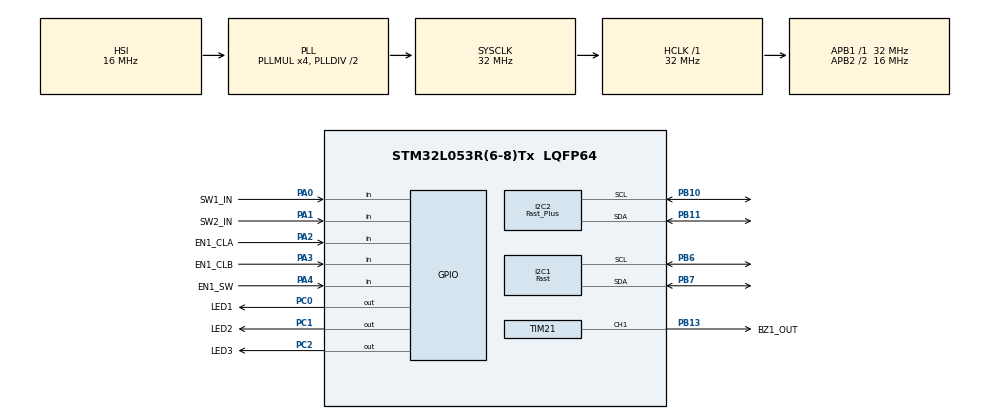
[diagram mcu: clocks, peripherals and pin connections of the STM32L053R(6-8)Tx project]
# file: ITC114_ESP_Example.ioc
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I2C1.I2C_Fall_Time=0
I2C1.I2C_Rise_Time=0
I2C1.I2C_Speed_Mode=I2C_Fast
I2C1.Timing=0x00300F38
I2C2.I2C_Speed_Mode=I2C_Fast_Plus
I2C2.Timing=0x0040040C
Mcu.Family=STM32L0
Mcu.Name=STM32L053R(6-8)Tx
Mcu.Package=LQFP64
NVIC.TIM6_DAC_IRQn=true\:0\:0\:false\:false\:true\:true\:true\:true
PA0.GPIO_Label=SW1_IN
PA0.GPIO_PuPd=GPIO_NOPULL
PA0.Signal=GPIO_Input
PA1.GPIO_Label=SW2_IN
PA1.GPIO_PuPd=GPIO_NOPULL
PA1.Signal=GPIO_Input
PA2.GPIO_Label=EN1_CLA
PA2.GPIO_Mode=GPIO_MODE_INPUT
PA2.GPIO_PuPd=GPIO_NOPULL
PA2.Signal=GPIO_Input
PA3.GPIO_Label=EN1_CLB
PA3.GPIO_Mode=GPIO_MODE_INPUT
PA3.GPIO_PuPd=GPIO_NOPULL
PA3.Signal=GPIO_Input
PA4.GPIO_Label=EN1_SW
PA4.GPIO_Mode=GPIO_MODE_INPUT
PA4.GPIO_PuPd=GPIO_NOPULL
PA4.Signal=GPIO_Input
PB10.Mode=I2C
PB10.Signal=I2C2_SCL
PB11.Mode=I2C
PB11.Signal=I2C2_SDA
PB13.GPIO_Label=BZ1_OUT
PB13.Signal=S_TIM21_CH1
PB6.GPIO_Pu=GPIO_PULLUP
PB6.Mode=I2C
PB6.Signal=I2C1_SCL
PB7.GPIO_Pu=GPIO_PULLUP
PB7.Mode=I2C
PB7.Signal=I2C1_SDA
PC0.GPIO_Label=LED1
PC0.PinState=GPIO_PIN_SET
PC0.Signal=GPIO_Output
PC1.GPIO_Label=LED2
PC1.PinState=GPIO_PIN_SET
PC1.Signal=GPIO_Output
PC14-OSC32_IN.Mode=LSE-External-Oscillator
PC14-OSC32_IN.Signal=RCC_OSC32_IN
PC15-OSC32_OUT.Mode=LSE-External-Oscillator
PC15-OSC32_OUT.Signal=RCC_OSC32_OUT
PC2.GPIO_Label=LED3
PC2.PinState=GPIO_PIN_SET
PC2.Signal=GPIO_Output
ProjectManager.HeapSize=0x200
ProjectManager.StackSize=0x400
ProjectManager.TargetToolchain=STM32CubeIDE
RCC.AHBFreq_Value=32000000
RCC.APB1Freq_Value=32000000
RCC.APB1TimFreq_Value=32000000
RCC.APB2CLKDivider=RCC_HCLK_DIV2
RCC.APB2Freq_Value=16000000
RCC.APB2TimFreq_Value=32000000
RCC.HCLKFreq_Value=32000000
RCC.HSE_VALUE=8000000
RCC.HSI16_VALUE=16000000
RCC.HSI48MClockSelection=RCC_USBCLKSOURCE_HSI48
RCC.HSI48_VALUE=48000000
RCC.HSI_VALUE=16000000
RCC.MSI_VALUE=2097000
RCC.PLLMUL=RCC_PLLMUL_4
RCC.RTCClockSelection=RCC_RTCCLKSOURCE_LSE
RCC.RTCClockSelectionVirtual=RCC_RTCCLKSOURCE_LSE
RCC.SYSCLKFreq_VALUE=32000000
RCC.SYSCLKSource=RCC_SYSCLKSOURCE_PLLCLK
RCC.VCOOutputFreq_Value=64000000
SH.S_TIM21_CH1.0=TIM21_CH1,PWM Generation1 CH1
TIM21.Channel-PWM\ Generation1\ CH1=TIM_CHANNEL_1
TIM21.Period=99
TIM21.Prescaler=319
TIM6.Period=99
TIM6.Prescaler=319
VP_RTC_VS_RTC_Activate.Mode=RTC_Enabled
VP_TIM21_VS_ClockSourceINT.Mode=Internal
VP_TIM6_VS_ClockSourceINT.Mode=Enable_Timer
board=custom

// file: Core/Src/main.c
/* USER CODE BEGIN Header */
/**
 ******************************************************************************
 * @file           : main.c
 * @brief          : Main program body
 ******************************************************************************
 * @attention
 *
 * Copyright (c) 2025 STMicroelectronics.
 * All rights reserved.
 *
 * This software is licensed under terms that can be found in the LICENSE file
 * in the root directory of this software component.
 * If no LICENSE file comes with this software, it is provided AS-IS.
 *
 ******************************************************************************
 */
/* USER CODE END Header */
#include "main.h"
#include "i2c.h"
#include "rtc.h"
#include "tim.h"
#include "gpio.h"

/* USER CODE BEGIN Includes */
#include "ssd1306.h"
#include "fonts.h"
#include "tmp1075.h"
#include "tps55289.h"
#include "ina226.h"
#include <stdio.h>
/* USER CODE END Includes */

/* USER CODE BEGIN PD */
#define SW1_Read HAL_GPIO_ReadPin(SW1_IN_GPIO_Port, SW1_IN_Pin)
#define SW2_Read HAL_GPIO_ReadPin(SW2_IN_GPIO_Port, SW2_IN_Pin)
#define EN1_SW_Read HAL_GPIO_ReadPin(EN1_SW_GPIO_Port, EN1_SW_Pin)

#define EN1_CLA HAL_GPIO_ReadPin(EN1_CLA_GPIO_Port, EN1_CLA_Pin)
#define EN1_CLB HAL_GPIO_ReadPin(EN1_CLB_GPIO_Port, EN1_CLB_Pin)

#define LED1(x) HAL_GPIO_WritePin(LED1_GPIO_Port, LED1_Pin, x ? 1 : 0)
#define LED2(x) HAL_GPIO_WritePin(LED2_GPIO_Port, LED2_Pin, x ? 1 : 0)
#define LED3(x) HAL_GPIO_WritePin(LED3_GPIO_Port, LED3_Pin, x ? 1 : 0)

#define EEPROM_ADDR_BASE 0x08080000
#define EEPROM_ADDR_BZ_state (EEPROM_ADDR_BASE)           // size = 4 byte
#define EEPROM_ADDR_BZ_freq (EEPROM_ADDR_BASE + 4)        // size = 4 byte
#define EEPROM_ADDR_OLED_contrast (EEPROM_ADDR_BASE + 8)  // size = 4 byte
#define EEPROM_ADDR_Vset (EEPROM_ADDR_BASE + 16)          // size = 4 byte
#define EEPROM_ADDR_Ilim (EEPROM_ADDR_BASE + 32)          // size = 4 byte

RTC_TimeTypeDef sTime;
RTC_DateTypeDef sDate;
int             mode;
char           *SW_STATE[] = {"ON", "OFF"};
int             SW1, SW2, SW3;
int             cnt, lastCLA;
int             timerSW1, task;
int             freq;
int             menu, lastEN1 = 1;
int             buzz = 1, light = 100;
int             lastSW1 = 1, lastSW2 = 1;
int             timerbuzz;
int             timer;
/* USER CODE END PD */

/* USER CODE BEGIN PV */

TMP1075_Handle_t TMP1075_U7;

TPS55289_Handle_t TPS55289_U5;
TPS55289_Status_t TPS55289_output_state;
uint8_t           output_state = 0;

uint32_t output_start_time = 0;

INA226_Handle_t INA226_U3;
INA226_Handle_t INA226_U8;

float Input_voltage = 0.0;
float Input_current = 0.0;

float Output_voltage = 0.0;
float Output_current = 0.0;

float set_output_voltage       = 22.0;
float set_output_limit_current = 3.0;

float temperature = 0.0;

char OLED_buf[22];

/* USER CODE END PV */

void SystemClock_Config(void);
/* USER CODE BEGIN PFP */
void     EEPROM_WriteUInt32(uint32_t addr, uint32_t data);
uint32_t EEPROM_ReadUInt32(uint32_t addr);
void     EEPROM_WriteFloat(uint32_t addr, float value);
float    EEPROM_ReadFloat(uint32_t addr);
void     setting_update(void);
/* USER CODE END PFP */

int main(void) {

  /* MCU Configuration--------------------------------------------------------*/

  /* Reset of all peripherals, Initializes the Flash interface and the Systick. */
  HAL_Init();

  /* Configure the system clock */
  SystemClock_Config();

  /* Initialize all configured peripherals */
  MX_GPIO_Init();
  MX_I2C1_Init();
  MX_I2C2_Init();
  MX_TIM6_Init();
  MX_TIM21_Init();
  MX_RTC_Init();
  /* USER CODE BEGIN 2 */

  /* -------------------------------- Initial the OLED --------------------------------*/
  ssd1306_Init(&hi2c2);

  /* -------------------------------- Initial the TMP1075 --------------------------------*/
  TMP1075_Init(&TMP1075_U7, &hi2c1, TMP1075_DEFAULT_ADDR);

  /* -------------------------------- Initial the Read Input INA226 U3 --------------------------------*/
  INA226_Init(&INA226_U3, &hi2c1, 0x40);
  INA226_WriteConfig(&INA226_U3, INA226_AVG_16, INA226_CT_1100US, INA226_CT_1100US, true);
  INA226_SetCalibration(&INA226_U3, 0.010f, 0.00025f);

  /* -------------------------------- Initial the Read Output INA226 U8 --------------------------------*/
  INA226_Init(&INA226_U8, &hi2c1, 0x45);
  INA226_WriteConfig(&INA226_U8, INA226_AVG_16, INA226_CT_1100US, INA226_CT_1100US, true);
  INA226_SetCalibration(&INA226_U8, 0.010f, 0.00025f);

  /* -------------------------------- Initial the TPS55289 --------------------------------*/
  TPS55289_Init(&TPS55289_U5, &hi2c1, TPS55289_ADDR_75);

  /* -------------------------------- Initial the Base Timer, Period = 1ms --------------------------------*/
  HAL_TIM_Base_Start_IT(&htim6);
  HAL_TIM_PWM_Start(&htim21, TIM_CHANNEL_1);
  /* -------------------------------- Set the TPS55289 Output  --------------------------------*/
  TPS55289_SetVout(&TPS55289_U5, 0.0f);    // Set TPS55289 Output Voltage = 0.0 V
  TPS55289_SetIlimit(&TPS55289_U5, 0.1f);  // Set TPS55289 Current Limit  = 0.1 A
  TPS55289_EnableOut(&TPS55289_U5, OFF);   // Set TPS55289 Output = OFF
  output_state = 0;

  /* -------------------------------- OLED display example --------------------------------*/
  //	  ssd1306_SetCursor(0, 0);
  //	  ssd1306_WriteString("Welcome to ITC 114", Font_7x10, White);
  //
  //	  ssd1306_SetCursor(0, 10);
  //	  ssd1306_WriteString("This font is 7x10", Font_7x10, White);
  //
  //	  ssd1306_SetCursor(0, 20);
  //	  ssd1306_WriteString("This font", Font_11x18, White);
  //
  //	  ssd1306_SetCursor(0, 38);
  //	  ssd1306_WriteString("is 11x18", Font_11x18, White);
  //
  //	  ssd1306_UpdateScreen(&hi2c2);
  sTime.Hours   = 23;
  sTime.Minutes = 59;
  sTime.Seconds = 50;
  //    HAL_RTC_GetDate(&hrtc, &sDate, RTC_FORMAT_BIN);
  //    HAL_RTC_GetTime(&hrtc, &sTime, RTC_FORMAT_BIN);
  cnt = 50;
  if (SW1_Read == 0) {
    mode = 0;
  } else mode = 1;

  buzz = (int)EEPROM_ReadUInt32(EEPROM_ADDR_BZ_state);
  freq = (int)EEPROM_ReadUInt32(EEPROM_ADDR_BZ_freq);

  light = (int)EEPROM_ReadUInt32(EEPROM_ADDR_OLED_contrast);
  ssd1306_SetBrightness(&hi2c2, light * 255 / 100);

  set_output_voltage       = EEPROM_ReadFloat(EEPROM_ADDR_Vset);
  set_output_limit_current = EEPROM_ReadFloat(EEPROM_ADDR_Ilim);

  /* USER CODE END 2 */

  /* Infinite loop */
  /* USER CODE BEGIN WHILE */
  while (1) {
    /* -------------------------------- Read TPS55289 status Register --------------------------------*/
    TPS55289_ReadStatus(&TPS55289_U5, &TPS55289_output_state);

    /* -------------------------------- Read TMP1075 temperature --------------------------------*/
    TMP1075_ReadTemperatureC(&TMP1075_U7, &temperature);  // temperature's unit = 'c

    /* -------------------------------- Read INA226 Input voltage and current --------------------------------*/
    INA226_ReadBusVoltage_V(&INA226_U3, &Input_voltage);  // Read Input Voltage, Unit = V
    INA226_ReadCurrent_A(&INA226_U3, &Input_current);     // Read Input Current, Unit = A

    INA226_ReadBusVoltage_V(&INA226_U8, &Output_voltage);
    INA226_ReadCurrent_A(&INA226_U8, &Output_current);

    HAL_Delay(1);

    if (timer == 0) {
      timer = 1000;
      sTime.Seconds++;
    }
    if (sTime.Seconds >= 60) {
      sTime.Seconds = 0;
      sTime.Minutes++;
    }
    if (sTime.Minutes >= 60) {
      sTime.Minutes = 0;
      sTime.Hours++;
    }
    if (sTime.Hours >= 24) {
      sTime.Hours = 0;
    }
    if (mode == 0) {
      if (SW1_Read == 0) {
        LED1(0);
        SW1 = 0;
      } else {
        LED1(1);
        SW1 = 1;
      }
      if (EN1_SW_Read == 0) {
        LED2(0);
        SW2 = 0;
      } else {
        LED2(1);
        SW2 = 1;
      }
      if (SW2_Read == 0) {
        LED3(0);
        SW3 = 0;
      } else {
        LED3(1);
        SW3 = 1;
      }
      ssd1306_Fill(Black);
      ssd1306_SetCursor(0, 0);
      ssd1306_WriteString("ITC114 Electronics", Font_7x10, White);
      ssd1306_SetCursor(0, 10);
      ssd1306_WriteString("Competitor:30", Font_7x10, White);
      ssd1306_SetCursor(0, 20);
      sprintf(OLED_buf, "SW1:%3s EN1_SW:%-3s", SW_STATE[SW1], SW_STATE[SW2]);
      ssd1306_WriteString(OLED_buf, Font_7x10, White);
      ssd1306_SetCursor(0, 30);
      sprintf(OLED_buf, "SW2:%s", SW_STATE[SW3]);
      ssd1306_WriteString(OLED_buf, Font_7x10, White);
      ssd1306_SetCursor(0, 40);
      sprintf(OLED_buf, "Rotary:%d", cnt);
      ssd1306_WriteString(OLED_buf, Font_7x10, White);
      ssd1306_SetCursor(0, 50);
      sprintf(OLED_buf, "SystemRTC:%2d:%2d:%2d", sTime.Hours, sTime.Minutes, sTime.Seconds);
      ssd1306_WriteString(OLED_buf, Font_7x10, White);
      ssd1306_UpdateScreen(&hi2c2);

    } else if (mode == 1) {
      LED1(0);
      LED2(!TPS55289_output_state.ocp);
      LED3(!output_state);

      if (task == 1) {
        if (EN1_SW_Read == 1 && lastEN1 == 0) {
          menu = (menu + 1) % 3;

          if (menu == 3) {
          }
        }
        lastEN1 = EN1_SW_Read;

        ssd1306_Fill(Black);
        ssd1306_SetCursor(2, 0);
        ssd1306_WriteString("System Settings:", Font_7x10, White);
        ssd1306_SetCursor(2, 10);
        ssd1306_WriteString("Buzz:", Font_11x18, White);
        ssd1306_SetCursor(57, 10);
        sprintf(OLED_buf, "%s", SW_STATE[!buzz]);
        ssd1306_WriteString(OLED_buf, Font_11x18, menu == 0 ? Black : White);
        ssd1306_SetCursor(2, 28);
        ssd1306_WriteString("Bz_F:", Font_11x18, White);
        ssd1306_SetCursor(57, 28);
        sprintf(OLED_buf, "%d", freq);
        ssd1306_WriteString(OLED_buf, Font_11x18, menu == 1 ? Black : White);
        ssd1306_SetCursor(90, 28);
        ssd1306_WriteString("kHz", Font_11x18, White);
        ssd1306_SetCursor(2, 46);
        ssd1306_WriteString("OLED", Font_11x18, White);
        ssd1306_SetCursor(57, 46);
        sprintf(OLED_buf, "%d", light);
        ssd1306_WriteString(OLED_buf, Font_11x18, menu == 2 ? Black : White);
        ssd1306_SetCursor(90, 46);
        ssd1306_WriteString("%", Font_11x18, White);
        ssd1306_UpdateScreen(&hi2c2);

      } else if (task == 0) {
        if (EN1_SW_Read == 1 && lastEN1 == 0) {
          menu = (menu + 1) % 3;
        }
        lastEN1 = EN1_SW_Read;

        uint8_t sw2 = SW2_Read == 1 && lastSW2 == 0;
        if ((SW1_Read == 1 && lastSW1 == 0) || (EN1_SW_Read == 1 && lastEN1 == 0) || sw2) {
          if (buzz && !timerbuzz) {
            timerbuzz = 50;
          }

          if (sw2) {
            output_state = !output_state;
            if (output_state) {
              TPS55289_SetVout(&TPS55289_U5, set_output_voltage);
              TPS55289_SetIlimit(&TPS55289_U5, set_output_limit_current);
              output_start_time = HAL_GetTick();
            }
            TPS55289_EnableOut(&TPS55289_U5, output_state);
          }
        }
        lastSW1 = SW1_Read;
        lastEN1 = EN1_SW_Read;
        lastSW2 = SW2_Read;

        ssd1306_Fill(Black);
        ssd1306_SetCursor(0, 0);
        sprintf(OLED_buf, "%05.2fV %04.2fA %04.1f", Input_voltage, Input_current, set_output_voltage);
        ssd1306_WriteString(OLED_buf, Font_7x10, White);

        ssd1306_SetCursor(0, 10);
        ssd1306_WriteString("Vset:", Font_11x18, White);
        sprintf(OLED_buf, "%05.2f", output_state ? Output_voltage : set_output_voltage);
        ssd1306_SetCursor(55, 10);
        ssd1306_WriteString(OLED_buf, Font_11x18, menu == 0 ? Black : White);
        ssd1306_SetCursor(110, 10);
        ssd1306_WriteString("V", Font_11x18, White);

        ssd1306_SetCursor(0, 28);
        ssd1306_WriteString("Ilim:", Font_11x18, White);
        sprintf(OLED_buf, "%05.2f", output_state ? Output_current : set_output_limit_current);
        ssd1306_SetCursor(55, 28);
        ssd1306_WriteString(OLED_buf, Font_11x18, menu == 1 ? Black : White);
        ssd1306_SetCursor(110, 28);
        ssd1306_WriteString("A", Font_11x18, White);

        ssd1306_SetCursor(0, 46);
        ssd1306_WriteString("Output:", Font_7x10, White);
        sprintf(OLED_buf, "%3s", SW_STATE[!output_state]);
        ssd1306_SetCursor(55, 46);
        ssd1306_WriteString(OLED_buf, Font_7x10, menu == 2 ? Black : White);

        if (output_state) {
          uint32_t now  = HAL_GetTick();
          uint32_t diff = (now - output_start_time) / 1000;

          ssd1306_SetCursor(85, 46);
          sprintf(OLED_buf, "%lu:%02lu", (unsigned long)(diff / 60), (unsigned long)(diff % 60));
          ssd1306_WriteString(OLED_buf, Font_7x10, White);
        }

        ssd1306_UpdateScreen(&hi2c2);
      }
    }

    /* USER CODE END WHILE */

  }
}

void SystemClock_Config(void) {
  RCC_OscInitTypeDef       RCC_OscInitStruct = {0};
  RCC_ClkInitTypeDef       RCC_ClkInitStruct = {0};
  RCC_PeriphCLKInitTypeDef PeriphClkInit     = {0};

  /** Configure the main internal regulator output voltage
   */
  __HAL_PWR_VOLTAGESCALING_CONFIG(PWR_REGULATOR_VOLTAGE_SCALE1);

  /** Configure LSE Drive Capability
   */
  HAL_PWR_EnableBkUpAccess();
  __HAL_RCC_LSEDRIVE_CONFIG(RCC_LSEDRIVE_LOW);

  /** Initializes the RCC Oscillators according to the specified parameters
   * in the RCC_OscInitTypeDef structure.
   */
  RCC_OscInitStruct.OscillatorType      = RCC_OSCILLATORTYPE_HSI | RCC_OSCILLATORTYPE_LSE;
  RCC_OscInitStruct.LSEState            = RCC_LSE_ON;
  RCC_OscInitStruct.HSIState            = RCC_HSI_ON;
  RCC_OscInitStruct.HSICalibrationValue = RCC_HSICALIBRATION_DEFAULT;
  RCC_OscInitStruct.PLL.PLLState        = RCC_PLL_ON;
  RCC_OscInitStruct.PLL.PLLSource       = RCC_PLLSOURCE_HSI;
  RCC_OscInitStruct.PLL.PLLMUL          = RCC_PLLMUL_4;
  RCC_OscInitStruct.PLL.PLLDIV          = RCC_PLLDIV_2;
  if (HAL_RCC_OscConfig(&RCC_OscInitStruct) != HAL_OK) {
    Error_Handler();
  }

  /** Initializes the CPU, AHB and APB buses clocks
   */
  RCC_ClkInitStruct.ClockType = RCC_CLOCKTYPE_HCLK | RCC_CLOCKTYPE_SYSCLK | RCC_CLOCKTYPE_PCLK1 | RCC_CLOCKTYPE_PCLK2;
  RCC_ClkInitStruct.SYSCLKSource   = RCC_SYSCLKSOURCE_PLLCLK;
  RCC_ClkInitStruct.AHBCLKDivider  = RCC_SYSCLK_DIV1;
  RCC_ClkInitStruct.APB1CLKDivider = RCC_HCLK_DIV1;
  RCC_ClkInitStruct.APB2CLKDivider = RCC_HCLK_DIV2;

  if (HAL_RCC_ClockConfig(&RCC_ClkInitStruct, FLASH_LATENCY_1) != HAL_OK) {
    Error_Handler();
  }
  PeriphClkInit.PeriphClockSelection = RCC_PERIPHCLK_I2C1 | RCC_PERIPHCLK_RTC;
  PeriphClkInit.I2c1ClockSelection   = RCC_I2C1CLKSOURCE_PCLK1;
  PeriphClkInit.RTCClockSelection    = RCC_RTCCLKSOURCE_LSE;
  if (HAL_RCCEx_PeriphCLKConfig(&PeriphClkInit) != HAL_OK) {
    Error_Handler();
  }
}

/* USER CODE BEGIN 4 */
void HAL_TIM_PeriodElapsedCallback(TIM_HandleTypeDef *htim) {
  if (timer > 0) timer--;
  if (htim == &htim6)  // 1 ms Timer
  {
    if (timerbuzz > 0) {
      timerbuzz--;

      uint32_t arr = freq * 1000;
      TIM21->ARR   = arr;
      TIM21->CCR1  = arr / 2;
    } else {
      TIM21->CCR1 = 0;
    }

    if (EN1_CLA == 1 && lastCLA == 0) {
      if (EN1_CLB == 1) {
        if (mode == 1 || mode == 0) {
          if (mode == 1 && task == 0) {
            if (!output_state) {  // is not output state
              if (menu == 0) {
                if (EN1_SW_Read == 0) {  // down
                  set_output_voltage -= 0.01;
                  lastEN1 = 1;
                } else {
                  set_output_voltage -= 0.1;
                }
              } else if (menu == 1) {
                if (EN1_SW_Read == 0) {  // down
                  set_output_limit_current -= 0.05;
                  lastEN1 = 1;
                } else {
                  set_output_limit_current -= 0.1;
                }
              } else if (menu == 2) {
              }
            }
          } else {
            cnt++;
            if (menu == 0) buzz = 1;
            else if (menu == 1) freq--;
            else if (menu == 2) light -= 5;
          }
        }
      } else {
        if (mode == 1 || mode == 0) {
          if (mode == 1 && task == 0) {
            if (!output_state) {  // is not output state
              if (menu == 0) {
                if (EN1_SW_Read == 0) {  // down
                  set_output_voltage -= 0.01;
                  lastEN1 = 1;
                } else {
                  set_output_voltage -= 0.1;
                }
              } else if (menu == 1) {
                if (EN1_SW_Read == 0) {  // down
                  set_output_limit_current -= 0.05;
                  lastEN1 = 1;
                } else {
                  set_output_limit_current -= 0.1;
                }
              }
            }
          } else {
            cnt--;
            if (menu == 0) buzz = 0;
            else if (menu == 1) freq++;
            else if (menu == 2) light += 5;
          }
        }
      }

      // :> 我懶 >>
      setting_update();
    }
    lastCLA = EN1_CLA;

    if (SW1_Read == 0) {
      timerSW1--;
      if (timerSW1 == 0) {
        task      = (task + 1) % 2;
        timerbuzz = 300;
      }
    } else timerSW1 = 1500;
  }
}

void EEPROM_WriteUInt32(uint32_t addr, uint32_t data) {
  HAL_FLASH_Unlock();
  HAL_FLASH_Program(FLASH_TYPEPROGRAM_WORD, addr, data);
  HAL_FLASH_Lock();
}

uint32_t EEPROM_ReadUInt32(uint32_t addr) {
  return *(__IO uint32_t *)addr;
}

void EEPROM_WriteFloat(uint32_t addr, float value) {
  uint32_t data = *(uint32_t *)&value;
  EEPROM_WriteUInt32(addr, data);
}

float EEPROM_ReadFloat(uint32_t addr) {
  uint32_t data  = EEPROM_ReadUInt32(addr);
  float    value = *(float *)&data;
  return value;
}

void setting_update(void) {
  if (cnt > 100) cnt = 100;
  else if (cnt < 0) cnt = 0;

  if (freq > 10) freq = 10;
  else if (freq < 1) freq = 1;

  if (light > 100) light = 100;
  else if (light < 0) light = 0;

  if (set_output_limit_current > 3) set_output_limit_current = 3;
  else if (set_output_limit_current < 0) set_output_limit_current = 0;

  if (set_output_voltage > 21) set_output_voltage = 21;
  else if (set_output_voltage < 0) set_output_voltage = 0;

  ssd1306_SetBrightness(&hi2c2, light * 255 / 100);

  EEPROM_WriteUInt32(EEPROM_ADDR_BZ_state, buzz);
  EEPROM_WriteUInt32(EEPROM_ADDR_BZ_freq, freq);
  EEPROM_WriteUInt32(EEPROM_ADDR_OLED_contrast, light);

  EEPROM_WriteFloat(EEPROM_ADDR_Vset, set_output_voltage);
  EEPROM_WriteFloat(EEPROM_ADDR_Ilim, set_output_limit_current);
}
/* USER CODE END 4 */

void Error_Handler(void) {
  __disable_irq();
  while (1) {
  }
}
